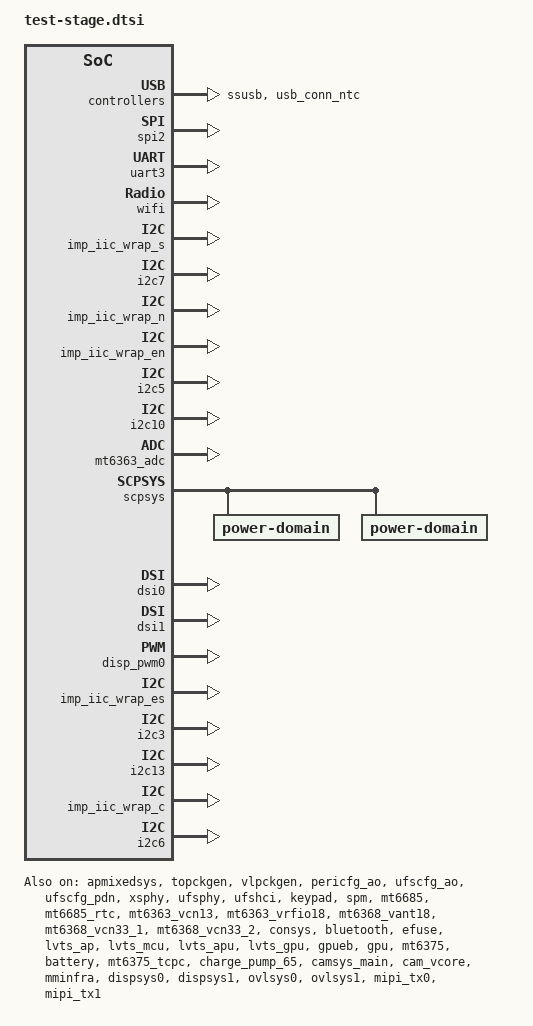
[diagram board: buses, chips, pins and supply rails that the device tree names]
// SPDX-FileCopyrightText: 2026 buntOS contributors
// SPDX-License-Identifier: (GPL-2.0-only OR BSD-2-Clause)
// 시험용: 2b부터 하나씩 켜는 노드. 기기에서 확인한 뒤 보드 dts로 옮긴다.

// LK가 켜 둔 화면은 mmpll에서 나오는 클럭으로 돈다. 커널에는 화면 드라이버가 없어 이 사용자를 모르므로,
// 같은 PLL을 쓰는 UFS가 클럭을 내리면 사용자가 0이 되어 PLL을 끈다. simpledrm이 잡아 둔다.
&framebuffer0 {
	clocks = <&apmixedsys CLK_APMIXED_MMPLL>;
};

// 6.1 핀, 6.2 클럭
&pio {
	status = "okay";
};

&apmixedsys {
	status = "okay";
};

&topckgen {
	status = "okay";
};

&vlpckgen {
	status = "okay";
};

&pericfg_ao {
	status = "okay";
};

&ufscfg_ao {
	status = "okay";
};

&ufscfg_pdn {
	status = "okay";
};

// 6.3 SPMI, 6.4 MT6363·MT6319, 6.5 MT6368. M 버스의 PMIC만 켠다. MT6685(@9)와 P 버스는 보드 dts대로 꺼져 있다.
&spmi {
	status = "okay";
};

// 6.7 USB 가젯. xhci0은 보드 dts대로 꺼 둔다.
&ssusb {
	status = "okay";
};

&xsphy {
	status = "okay";
};

// 6.6 UFS. 안드로이드 파티션과 nvdata가 있으니 읽기만 한다.
&ufsphy {
	status = "okay";
};

&ufshci {
	status = "okay";
};

// 7. 2c 입력. 터치와 펜(spi2), 홀 센서(gpio-keys), 포고 키보드(uart3). vddio_1v8은 패널과 터치의 I/O 전원이다.
&vddio_1v8 {
	status = "okay";
};

&spi2 {
	status = "okay";
};

&{/gpio-keys} {
	status = "okay";
};

&uart3 {
	status = "okay";
};

// 볼륨 내림 키
&keypad {
	status = "okay";
};

// 9.1, 9.2 2d. 드라이버는 명령줄의 modprobe.blacklist로 막고 손으로 올린다. 6.10 RTC도 MT6685와 함께 켠다.
&spm {
	status = "okay";
};

&mt6685 {
	status = "okay";
};

&mt6685_rtc {
	status = "okay";
};

&mt6363_vcn13 {
	status = "okay";
};

&mt6363_vrfio18 {
	status = "okay";
};

&mt6368_vant18 {
	status = "okay";
};

&mt6368_vcn33_1 {
	status = "okay";
};

&mt6368_vcn33_2 {
	status = "okay";
};

&consys {
	status = "okay";
};

&wifi {
	status = "okay";
};

&bluetooth {
	status = "okay";
};

// 9.4 2e 열과 게이지. efuse는 LK의 퓨즈 사본을 읽는다(lk-private.dtsi).
&efuse {
	status = "okay";
};

&lvts_ap {
	status = "okay";
};

&lvts_mcu {
	status = "okay";
};

&imp_iic_wrap_s {
	status = "okay";
};

&i2c7 {
	status = "okay";
};

// 9.4 2·3단계. GPU 전원은 요청하지 않는다.
&lvts_apu {
	status = "okay";
};

&lvts_gpu {
	status = "okay";
};

&gpueb_mbox {
	status = "okay";
};

&gpueb {
	status = "okay";
};

// 9.4 4단계. panthor는 명령줄의 modprobe.blacklist로 막고 손으로 올린다.
&gpu {
	status = "okay";
};

// 9.3 A 충전 읽기만. 모듈은 명령줄의 modprobe.blacklist로 막고 손으로 올린다.
&imp_iic_wrap_n {
	status = "okay";
};

&imp_iic_wrap_en {
	status = "okay";
};

&i2c5 {
	status = "okay";
};

&i2c10 {
	status = "okay";
};

&mt6375 {
	status = "okay";
};

// 9.3 B 충전 넘겨받기. 모듈은 명령줄의 modprobe.blacklist로 막고, 멈추는 스크립트를 건 뒤에 손으로 올린다.
&battery {
	status = "okay";
};

&mt6375 {
	charger {
		monitored-battery = <&battery>;
		mediatek,fuel-gauge = <&fuel_gauge>;
	};
};

// 9.3 C 인터럽트와 TCPC, 싱크만. tcpci_mt6375는 명령줄로 막고 시간 제한을 걸어 손으로 올린다.
&mt6375 {
	interrupt-parent = <&pio>;
	interrupts = <7 IRQ_TYPE_LEVEL_LOW>;

	charger {
		mediatek,usb-port = <&mt6375_tcpc>;
	};
};

&mt6375_tcpc {
	status = "okay";
};

// 8절 3단계, 9.3 C: TCPC의 VBUS 레귤레이터가 이 입력 FET 스위치를 입력으로 잡는다. 켜지 않는다.
&charge_pump_65 {
	status = "okay";
};

// 9.3 F USB 커넥터 과열 보호. 센서는 모듈이고 충전 드라이버가 10초마다 읽는다
&mt6363_adc {
	status = "okay";
};

&usb_conn_ntc {
	status = "okay";
};

&mt6375 {
	charger {
		mediatek,connector-thermal-zone = "usb-conn-thermal";
		mediatek,vbus-protect-gpios = <&pio 179 GPIO_ACTIVE_HIGH>;
	};
};

// 9.5 2c 2차 화면. 드라이버 넷은 명령줄의 modprobe.blacklist로 막고 손으로 올린다(체크리스트 9.5의 1~4단계).
// 화면 도메인은 첫 소비자 전에 simple-framebuffer가 잡는다. 패널 노드를 켜므로 fw_devlink가 simpledrm을 붙들지 않게 panel을 꺼진 노드로 돌린다.
/ {
	// simpledrm은 화면의 실제 크기(mm)를 panel이 가리키는 노드에서 읽는다. 꺼진 노드에는 fw_devlink가 걸리지 않으므로 크기만 적어 둔다
	panel_size: tb375fc-panel-size {
		status = "disabled";
		width-mm = <273>;
		height-mm = <171>;
	};
};

&framebuffer0 {
	panel = <&panel_size>;
	power-domains = <&scpsys MT6897_POWER_DOMAIN_DIS0_SHUTDOWN>,
			<&scpsys MT6897_POWER_DOMAIN_DIS1_SHUTDOWN>,
			<&scpsys MT6897_POWER_DOMAIN_OVL0_SHUTDOWN>,
			<&scpsys MT6897_POWER_DOMAIN_OVL1_SHUTDOWN>;
};

&scpsys {
	power-domain@MT6897_POWER_DOMAIN_MM_INFRA {
		reg = <MT6897_POWER_DOMAIN_MM_INFRA>;
		clocks = <&topckgen CLK_TOP_MMINFRA>;
		clock-names = "mm_infra";
		#address-cells = <1>;
		#size-cells = <0>;
		#power-domain-cells = <1>;

		power-domain@MT6897_POWER_DOMAIN_DIS0_SHUTDOWN {
			reg = <MT6897_POWER_DOMAIN_DIS0_SHUTDOWN>;
			clocks = <&topckgen CLK_TOP_DISP0>;
			clock-names = "disp";
			#address-cells = <1>;
			#size-cells = <0>;
			#power-domain-cells = <1>;

			power-domain@MT6897_POWER_DOMAIN_OVL0_SHUTDOWN {
				reg = <MT6897_POWER_DOMAIN_OVL0_SHUTDOWN>;
				clocks = <&topckgen CLK_TOP_OVL0>;
				clock-names = "ovl";
				#power-domain-cells = <0>;
			};
		};

		// 비디오 디코더(docs/tb375fc/video-decode.md 1단계). 소비자는 larb4뿐이고, 부팅 때는 꺼진 채로 둔다
		power-domain@MT6897_POWER_DOMAIN_VDE0 {
			reg = <MT6897_POWER_DOMAIN_VDE0>;
			clocks = <&topckgen CLK_TOP_VDEC>;
			clock-names = "vde";
			#address-cells = <1>;
			#size-cells = <0>;
			#power-domain-cells = <1>;

			power-domain@MT6897_POWER_DOMAIN_VDE1 {
				reg = <MT6897_POWER_DOMAIN_VDE1>;
				clocks = <&topckgen CLK_TOP_VDEC>;
				clock-names = "vde1";
				#power-domain-cells = <0>;
			};
		};

		// 앞 카메라(docs/tb375fc/camera.md 2단계). 순정의 클럭 목록을 따른다: 기본 클럭은 켜기 전에, 이름에 '-'가 있는
		// 클럭(카메라 클럭 블록의 GALS·larb 게이트)은 켠 뒤 버스 보호를 풀기 전에 켠다. 소비자는 꺼 둔 시험 노드뿐이라
		// 부팅 때는 꺼진 채로 둔다. 순정의 "ccu"는 topckgen 19번(camtg7)을 가리키는데, CCU의 클럭은 VLP 19번(ccusys)이다
		power-domain@MT6897_POWER_DOMAIN_CAM_VCORE {
			reg = <MT6897_POWER_DOMAIN_CAM_VCORE>;
			clocks = <&topckgen CLK_TOP_CAM>,
				 <&topckgen CLK_TOP_DPE>,
				 <&vlpckgen CLK_VLP_CCUSYS>,
				 <&topckgen CLK_TOP_CCU_AHB>,
				 <&cam_vcore CLK_CAM_VCORE_MM0_SUBCOMMON_DCM_DIS>;
			clock-names = "cam", "dpe", "ccu", "ccu_ahb", "cam_vcore-0";
			#address-cells = <1>;
			#size-cells = <0>;
			#power-domain-cells = <1>;

			power-domain@MT6897_POWER_DOMAIN_CAM_MAIN {
				reg = <MT6897_POWER_DOMAIN_CAM_MAIN>;
				clocks = <&camsys_main CLK_CAM_MAIN_CAM2MM0_GALS>,
					 <&camsys_main CLK_CAM_MAIN_CAM2MM1_GALS>,
					 <&camsys_main CLK_CAM_MAIN_CAM2MM2_GALS>,
					 <&camsys_main CLK_CAM_MAIN_CAM2SYS_GALS>,
					 <&camsys_main CLK_CAM_MAIN_LARB13>,
					 <&camsys_main CLK_CAM_MAIN_LARB14>,
					 <&camsys_main CLK_CAM_MAIN_LARB27>,
					 <&camsys_main CLK_CAM_MAIN_LARB29>;
				clock-names = "cam_main-0", "cam_main-1", "cam_main-2",
					      "cam_main-3", "cam_main-4", "cam_main-5",
					      "cam_main-6", "cam_main-7";
				// 순정의 cam-main-supply. 늘 켜 두는 vmm이다
				domain-supply = <&mt6319_6_vbuck1>;
				#power-domain-cells = <0>;
			};
		};

		// VCP의 도메인(2단계). LK가 켜 둔 채 넘기지만 꺼진 도메인으로 등록하고, 소비자(vcp 노드)는 꺼 둔 채 부팅한다
		power-domain@MT6897_POWER_DOMAIN_MM_PROC_DORMANT {
			reg = <MT6897_POWER_DOMAIN_MM_PROC_DORMANT>;
			clocks = <&topckgen CLK_TOP_MMUP>;
			clock-names = "mmup";
			#power-domain-cells = <0>;
		};

		power-domain@MT6897_POWER_DOMAIN_DIS1_SHUTDOWN {
			reg = <MT6897_POWER_DOMAIN_DIS1_SHUTDOWN>;
			clocks = <&topckgen CLK_TOP_DISP1>;
			clock-names = "disp1";
			#address-cells = <1>;
			#size-cells = <0>;
			#power-domain-cells = <1>;

			power-domain@MT6897_POWER_DOMAIN_OVL1_SHUTDOWN {
				reg = <MT6897_POWER_DOMAIN_OVL1_SHUTDOWN>;
				clocks = <&topckgen CLK_TOP_OVL1>;
				clock-names = "ovl1";
				#power-domain-cells = <0>;
			};
		};
	};

	// CSI 수신부의 아날로그 쪽. 순정에서도 부모가 없고 클럭도 없다
	power-domain@MT6897_POWER_DOMAIN_CSI_RX {
		reg = <MT6897_POWER_DOMAIN_CSI_RX>;
		#power-domain-cells = <0>;
	};
};

&camsys_main {
	status = "okay";
};

&cam_vcore {
	status = "okay";
};

/ {
	// 앞 카메라 2단계의 시험 노드. 꺼 둔 채 부팅하고, 시험 모듈(.handoff의 camtest)이 손으로 올릴 때만 이 노드로 장치를 만든다
	camera-power-test {
		compatible = "buntos,mt6897-camera-power-test";
		power-domains = <&scpsys MT6897_POWER_DOMAIN_CSI_RX>,
				<&scpsys MT6897_POWER_DOMAIN_CAM_MAIN>;
		power-domain-names = "csi-rx", "cam-main";
		clocks = <&camsys_main CLK_CAM_MAIN_CAM>,
			 <&camsys_main CLK_CAM_MAIN_SENINF>,
			 <&camsys_main CLK_CAM_MAIN_CAMTG>,
			 <&camsys_main CLK_CAM_MAIN_CAMSV_TOP>,
			 <&camsys_main CLK_CAM_MAIN_CAMSV_A>;
		clock-names = "cam", "seninf", "camtg", "camsv", "camsv-a";
		status = "disabled";
	};
};

&mminfra {
	status = "okay";
};

&dispsys0 {
	status = "okay";
};

&dispsys1 {
	status = "okay";
};

&ovlsys0 {
	status = "okay";
};

&ovlsys1 {
	status = "okay";
};

&mipi_tx0 {
	status = "okay";
};

&mipi_tx1 {
	status = "okay";
};

&disp_mutex0 {
	status = "okay";
};

&disp_mutex1 {
	status = "okay";
};

&ovl_mutex0 {
	status = "okay";
};

&ovl_mutex1 {
	status = "okay";
};

&dsc0 {
	status = "okay";
};

&dsc1 {
	status = "okay";
};

&ovl_2l0 {
	status = "okay";
};

&ovl_2l1 {
	status = "okay";
};

&dsi0 {
	status = "okay";
};

&dsi1 {
	status = "okay";
};

&panel0 {
	status = "okay";
};

&lcd_avdd {
	status = "okay";
};

&lcd_avee {
	status = "okay";
};

// 9.5 밝기. SoC의 disp_pwm0이 SGM37604A 둘을 함께 움직인다. i2c3과 i2c13은 두 칩과 SM5109의 레지스터를 읽으려고 켠다(드라이버는 붙지 않는다).
/ {
	aliases {
		i2c3 = &i2c3;
		i2c13 = &i2c13;
	};
};

&disp_pwm0 {
	status = "okay";
};

&backlight {
	status = "okay";
};

&imp_iic_wrap_es {
	status = "okay";
};

&i2c3 {
	status = "okay";
};

&i2c13 {
	status = "okay";
};

// 소리. 드라이버는 명령줄의 modprobe.blacklist로 막고 buntos-sound.service가 올린다.
&sound {
	status = "okay";
};

&afe {
	status = "okay";
};

&mt6368_codec {
	status = "okay";
};

&mt6368_vaud18 {
	status = "okay";
};

&imp_iic_wrap_c {
	status = "okay";
};

&i2c6 {
	status = "okay";
};

// 비디오 디코더 1단계: MDP 쪽 IOMMU와 SMI, 디코더 코어의 larb(docs/tb375fc/video-decode.md 7.1절).
// 클럭 게이트는 레지스터를 건드리지 않고 등록만 한다.
&vdecsys {
	status = "okay";
};

// 3단계: 디코더 앞단(larb5)의 게이트. vdecsys와 같이 등록만 한다.
&vdecsys_soc {
	status = "okay";
};

// 비디오 디코더(docs/tb375fc/video-decode.md 7.4절): 두 IOMMU와 SMI, larb4·larb5, VCP, 전압 요청 블록(DVFSRC), 디코더.
// 노드는 부팅 때부터 켜 두고, 드라이버(mtk_smi, mtk_iommu, mtk_dvfsrc, mt6897_vcp, mt6897_vdec)는 모두 모듈로 두어
// 명령줄의 modprobe.blacklist로 막고 buntos-video.service가 로그인 화면 뒤에 차례대로 올린다. SMI와 IOMMU가
// 붙으면 larb가 VDE0·VDE1을 켰다 끄고 IOMMU가 초기화되는데, 화면이 부트로더가 차려 둔 그대로 나가는 동안이면
// 컴포지터가 화면을 다시 설정할 때까지 화면이 깨진다. 화면 드라이버가 초기화된 것만으로는 모자라서, 서비스가
// DSI 커넥터가 켜진 것을 본 뒤에 올린다.
&smi_mdp_common {
	status = "okay";
};

&larb4 {
	status = "okay";
};

&mdp_iommu {
	status = "okay";
};

&vcp {
	status = "okay";
};

&smi_disp_common {
	status = "okay";
};

&larb5 {
	status = "okay";
};

&disp_iommu {
	status = "okay";
};

&dvfsrc {
	status = "okay";
};

&vdec {
	status = "okay";
};
